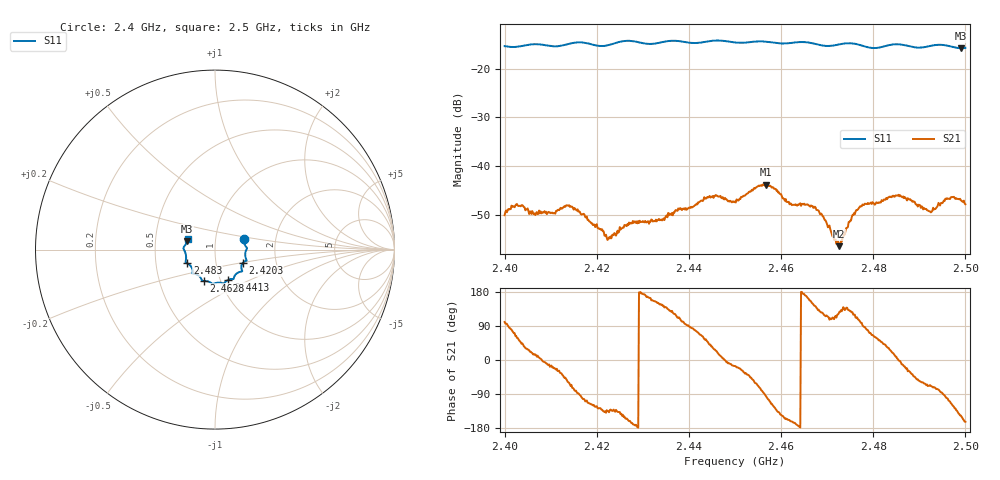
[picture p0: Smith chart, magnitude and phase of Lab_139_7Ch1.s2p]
# Hz S RI R 50
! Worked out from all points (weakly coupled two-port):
!   601 points, 2.4 GHz to 2.5 GHz, reference 50 ohm
!   highest |S21| = -43.77 dB at 2.4567 GHz (marker M1); lowest = -56.4 dB at 2.4725 GHz (marker M2)
!   lowest |S11| = -15.8 dB at 2.499 GHz (marker M3), VSWR 1.39, Z = 36.4 + j3.39 ohm
!   |S11| at or under -10 dB: start of sweep to end of sweep
!   S12 and S22 are empty: the file has one direction only
!   S11 on the Smith chart (normalised r, x): 2.4 GHz: 1.37, +0.16; 2.4203 GHz: 1.35, -0.21; 2.4413 GHz: 1.09, -0.38; 2.4628 GHz: 0.83, -0.30; 2.483 GHz: 0.72, -0.11; 2.5 GHz: 0.73, +0.09
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2.4e9  0.1609 0.0565  -0.000561 0.00309  0 0  0 0
2.402833e9  0.1662 0.027  0.00209 0.00335  0 0  0 0
2.406333e9  0.1784 0.0094  0.00309 0.000857  0 0  0 0
2.416667e9  0.1759 -0.0617  -0.000433 -0.00316  0 0  0 0
2.420333e9  0.1552 -0.0741  -0.00141 -0.00181  0 0  0 0
2.422667e9  0.1468 -0.0957  -0.00138 -0.00125  0 0  0 0
2.4275e9  0.1498 -0.1213  -0.00251 -0.000614  0 0  0 0
2.433333e9  0.1082 -0.1485  -0.00246 0.00138  0 0  0 0
2.441333e9  0.0743 -0.1679  0.000795 0.00391  0 0  0 0
2.445667e9  0.0507 -0.1879  0.00441 0.00226  0 0  0 0
2.45e9  0.0292 -0.1838  0.00417 -0.00118  0 0  0 0
2.456667e9  -0.0155 -0.1893  -0.000513 -0.00646  0 0  0 0
2.462833e9  -0.0628 -0.1746  -0.0039 -0.000993  0 0  0 0
2.466667e9  -0.0743 -0.1675  -0.00339 0.0019  0 0  0 0
2.4725e9  -0.115 -0.1347  -0.000815 0.00127  0 0  0 0
2.476833e9  -0.1246 -0.1254  -0.00103 0.00354  0 0  0 0
2.483e9  -0.1548 -0.0766  0.00378 0.00259  0 0  0 0
2.483333e9  -0.1568 -0.0757  0.00406 0.00253  0 0  0 0
2.492333e9  -0.1714 -0.00426  0.00138 -0.00314  0 0  0 0
2.495833e9  -0.1727 0.0154  -0.000767 -0.00453  0 0  0 0
2.499e9  -0.1559 0.0454  -0.00374 -0.00248  0 0  0 0
2.5e9  -0.1529 0.0586  -0.00389 -0.00119  0 0  0 0
